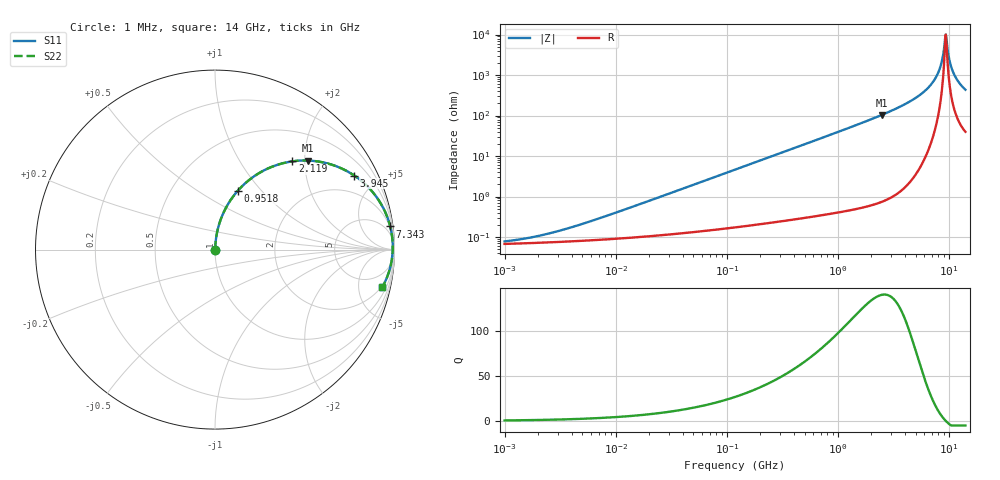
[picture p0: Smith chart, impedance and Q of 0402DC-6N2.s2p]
# MHz  S  MA  R  50
!Freq  MagS11  AngS11  MagS21  AngS21  MagS12  AngS12  MagS22  AngS22
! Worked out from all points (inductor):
!   801 points, 1 MHz to 14 GHz, reference 50 ohm
!   read as one part in series: L = 6.2 nH near 6.527 MHz
!   highest Q = 140 at 2.476 GHz (marker M1), where L = 6.67 nH
!   self-resonance near 9.325 GHz
!   S11 on the Smith chart (normalised r, x): 1 MHz: 1.00, +0.00; 951.8 MHz: 1.01, +0.75; 2.119 GHz: 1.01, +1.74; 3.945 GHz: 1.03, +3.74; 7.343 GHz: 2, +15; 14 GHz: 1.80, -8.66
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1  0.0007801 29.9  0.9993 -0.0  0.9993 -0.0  0.0007801 29.9
2.122819  0.001099 48.7  0.9993 -0.0  0.9993 -0.0  0.001099 48.7
4.958368  0.002092 67.2  0.9992 -0.1  0.9992 -0.1  0.002092 67.2
24.29341  0.009516 82.9  0.9989 -0.5  0.9989 -0.5  0.009516 82.9
119.025  0.04628 85.2  0.9972 -2.7  0.9972 -2.7  0.04628 85.2
583.1601  0.2217 76.4  0.972 -12.8  0.972 -12.8  0.2217 76.4
951.7891  0.3497 68.9  0.9332 -20.5  0.9332 -20.5  0.3497 68.9
2119.386  0.6543 48.7  0.7515 -40.9  0.7515 -40.9  0.6543 48.7
2475.531  0.7175 43.7  0.6915 -45.8  0.6915 -45.8  0.7175 43.7
2857.179  0.7728 39.0  0.6291 -50.6  0.6291 -50.6  0.7728 39.0
3944.964  0.8789 28.0  0.4695 -61.5  0.4695 -61.5  0.8789 28.0
5713.537  0.9583 15.6  0.269 -73.4  0.269 -73.4  0.9583 15.6
7343.042  0.9847 7.5  0.131 -79.6  0.131 -79.6  0.9847 7.5
8274.98  0.9898 3.7  0.06588 -79.2  0.06588 -79.2  0.9898 3.7
8576.977  0.9904 2.6  0.04659 -76.8  0.04659 -76.8  0.9904 2.6
8996.853  0.9906 1.1  0.02178 -63.7  0.02178 -63.7  0.9906 1.1
9325.195  0.9902 0.0  0.009834 -1.1  0.009834 -1.1  0.9902 0.0
9665.519  0.9894 -1.1  0.02195 60.4  0.02195 60.4  0.9894 -1.1
10260.55  0.9871 -3.0  0.05302 74.4  0.05302 74.4  0.9871 -3.0
11023.14  0.9827 -5.2  0.09151 76.5  0.09151 76.5  0.9827 -5.2
12274.59  0.973 -8.5  0.1494 75.3  0.1494 75.3  0.973 -8.5
14000  0.9556 -12.6  0.2198 72.1  0.2198 72.1  0.9556 -12.6
